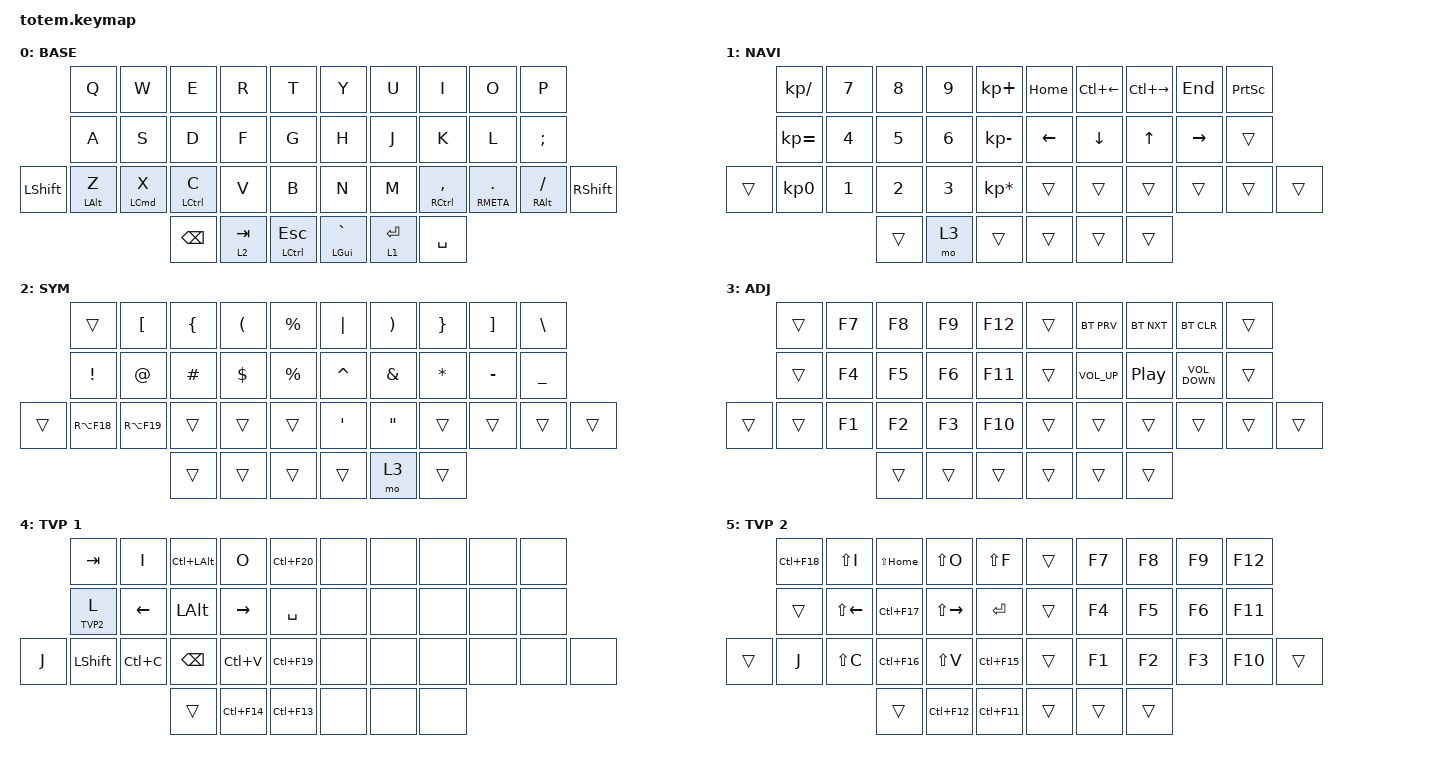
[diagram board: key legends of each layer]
//
//                                                        ▀▀▀▀▀     ▀▀▀▀▀          ▀▀█▀▀
//                                                        ▄▀▀▀▄  ▄  ▄▀▀▀▄  ▄  ▄▀▀▀▄  █  ▄▀▀▀▄
//                                                        █   █  █  █   █  █  █   █  █  █   █
//                                                         ▀▀▀   █   ▀▀▀   █   ▀▀▀   ▀   ▀▀▀
//                                                               █      ▄▄▄█▄▄▄    █   █  
//                                                               ▀      █  █  █     █▄█
//                                                             ▀▀▀▀▀    █  █  █      ▀
//                                                                      ▀  ▀  ▀
//
// ▄▄▄▄▄▄▄▄▄▄▄▄▄▄▄▄▄▄▄▄▄▄▄▄▄▄▄▄▄▄▄▄▄▄▄▄▄▄▄▄▄▄▄▄▄▄▄▄▄▄▄▄▄▄▄▄▄▄▄▄▄▄▄▄▄▄▄▄▄▄▄▄▄▄▄▄▄▄▄▄▄▄▄▄▄▄▄▄▄▄▄▄▄▄▄▄▄▄▄▄▄▄▄▄▄▄▄▄▄▄▄▄▄▄▄▄▄▄▄▄▄▄▄▄▄▄▄▄▄▄▄▄▄▄▄▄▄▄▄▄▄▄▄▄▄▄▄▄▄

#include <behaviors.dtsi>
#include <dt-bindings/zmk/bt.h>
#include <dt-bindings/zmk/keys.h>

#define BASE 0
#define NAV  1
#define SYM  2
#define ADJ  3
#define TVP1 4
#define TVP2 5

&mt {
    quick-tap-ms = <100>;
    global-quick-tap;
    flavor = "tap-preferred";
    tapping-term-ms = <170>;
};

/ {
    combos {
        compatible = "zmk,combos";

        combo_esc {
            timeout-ms = <50>;
            key-positions = <0 1>;
            bindings = <&kp ESC>;
        };

        combo_tvp {
            timeout-ms = <100>;
            key-positions = <11 12 13>;
            bindings = <&tog TVP1>;
        };
    };

    macros {
        gif: gif {
            label = "giphy";
            compatible = "zmk,behavior-macro";
            #binding-cells = <0>;
            bindings =
                <&macro_press>,
                <&kp LSHFT>,
                <&macro_tap>,
                <&kp N2>,
                <&macro_release>,
                <&kp LSHFT>,
                <&macro_tap>,
                <&kp G &kp I &kp F>;
        };
    };

    behaviors {
        hm: homerow_mods {
            compatible = "zmk,behavior-hold-tap";
            label = "HOMEROW_MODS";
            bindings = <&kp>, <&kp>;

            #binding-cells = <2>;
            tapping-term-ms = <200>;
            quick-tap-ms = <120>;
            require-prior-idle-ms = <175>;
            flavor = "balanced";
            hold-trigger-on-release;
        };
    };

    keymap {
        compatible = "zmk,keymap";

        // ▄▄▄▄▄▄▄▄▄▄▄▄▄▄▄▄▄▄▄▄▄▄▄▄▄▄▄▄▄▄▄▄▄▄▄▄▄▄▄▄▄▄▄▄▄▄▄▄▄▄▄▄▄▄▄▄▄▄▄▄▄▄▄▄▄▄▄▄▄▄▄▄▄▄▄▄▄▄▄▄▄▄▄▄▄▄▄▄▄▄▄▄▄▄▄▄▄▄▄▄▄▄▄▄▄▄▄▄▄▄▄▄▄▄▄▄▄▄▄▄▄▄▄▄▄▄▄▄▄▄▄▄▄▄▄▄▄▄▄▄▄▄▄▄▄▄▄▄▄

        base_layer {
            // ┏━━━━━━━━━━━━━━━━━━━━━━━━━━━━━━━━━━━━━━━┓

            label = "BASE";

            // ┗━━━━━━━━━━━━━━━━━━━━━━━━━━━━━━━━━━━━━━━┛
            //             ┏━━━━━━━━━━━┳━━━━━━━━━━━┳━━━━━━━━━━━┳━━━━━━━━━━━┳━━━━━━━━━━━┓   ┏━━━━━━━━━━━┳━━━━━━━━━━━┳━━━━━━━━━━━┳━━━━━━━━━━━┳━━━━━━━━━━━┓
            //             ┃     Q     ┃     W     ┃     F     ┃     P     ┃     G     ┃   ┃     J     ┃     L     ┃     U     ┃     Y     ┃     ;     ┃
            //             ┣━━━━━━━━━━━╋━━━━━━━━━━━╋━━━━━━━━━━━╋━━━━━━━━━━━╋━━━━━━━━━━━┫   ┣━━━━━━━━━━━╋━━━━━━━━━━━╋━━━━━━━━━━━╋━━━━━━━━━━━╋━━━━━━━━━━━┫
            //             ┃     A     ┃     R     ┃     S     ┃     T     ┃     D     ┃   ┃     H     ┃     N     ┃     E     ┃     I     ┃     O     ┃
            // ┏━━━━━━━━━━━╋━━━━━━━━━━━╋━━━━━━━━━━━╋━━━━━━━━━━━╋━━━━━━━━━━━╋━━━━━━━━━━━┫   ┣━━━━━━━━━━━╋━━━━━━━━━━━╋━━━━━━━━━━━╋━━━━━━━━━━━╋━━━━━━━━━━━╋━━━━━━━━━━━┓
            // ┃     Q     ┃     Z     ┃     X     ┃     C     ┃     V     ┃     B     ┃   ┃     K     ┃     M     ┃     ,     ┃     .     ┃     /     ┃     \     ┃
            // ┗━━━━━━━━━━━┻━━━━━━━━━━━┻━━━━━━━━━━━╋━━━━━━━━━━━╋━━━━━━━━━━━╋━━━━━━━━━━━┫   ┣━━━━━━━━━━━╋━━━━━━━━━━━╋━━━━━━━━━━━╋━━━━━━━━━━━┻━━━━━━━━━━━┻━━━━━━━━━━━┛
            //                                     ┃    DEL    ┃    TAB    ┃    SPC    ┃   ┃   ENTER   ┃           ┃   BSPC    ┃
            //                                     ┗━━━━━━━━━━━┻━━━━━━━━━━━┻━━━━━━━━━━━┛   ┗━━━━━━━━━━━┻━━━━━━━━━━━┻━━━━━━━━━━━┛

            bindings = <
           &kp Q           &kp W       &kp E        &kp R      &kp T               &kp Y               &kp U        &kp I            &kp O          &kp P
           &kp A           &kp S       &kp D        &kp F      &kp G               &kp H               &kp J        &kp K            &kp L          &kp SEMI
&kp LSHFT  &hm LEFT_ALT Z  &hm LCMD X  &hm LCTRL C  &kp V      &kp B               &kp N               &kp M        &hm RCTRL COMMA  &hm RMETA DOT  &hm RIGHT_ALT FSLH  &kp RSHFT
                                       &kp BSPC     &lt 2 TAB  &mt LCTRL ESCAPE    &mt LEFT_GUI GRAVE  &lt 1 ENTER  &kp SPACE
            >;
        };

        // ▄▄▄▄▄▄▄▄▄▄▄▄▄▄▄▄▄▄▄▄▄▄▄▄▄▄▄▄▄▄▄▄▄▄▄▄▄▄▄▄▄▄▄▄▄▄▄▄▄▄▄▄▄▄▄▄▄▄▄▄▄▄▄▄▄▄▄▄▄▄▄▄▄▄▄▄▄▄▄▄▄▄▄▄▄▄▄▄▄▄▄▄▄▄▄▄▄▄▄▄▄▄▄▄▄▄▄▄▄▄▄▄▄▄▄▄▄▄▄▄▄▄▄▄▄▄▄▄▄▄▄▄▄▄▄▄▄▄▄▄▄▄▄▄▄▄▄▄▄

        nav_layer {
            // ┏━━━━━━━━━━━━━━━━━━━━━━━━━━━━━━━━━━━━━━━┓

            label = "NAVI";

            // ┗━━━━━━━━━━━━━━━━━━━━━━━━━━━━━━━━━━━━━━━┛
            //             ┏━━━━━━━━━━━┳━━━━━━━━━━━┳━━━━━━━━━━━┳━━━━━━━━━━━┳━━━━━━━━━━━┓   ┏━━━━━━━━━━━┳━━━━━━━━━━━┳━━━━━━━━━━━┳━━━━━━━━━━━┳━━━━━━━━━━━┓
            //             ┃           ┃           ┃     UP    ┃           ┃     {     ┃   ┃     }     ┃     7     ┃     8     ┃     9     ┃     +     ┃
            //             ┣━━━━━━━━━━━╋━━━━━━━━━━━╋━━━━━━━━━━━╋━━━━━━━━━━━╋━━━━━━━━━━━┫   ┣━━━━━━━━━━━╋━━━━━━━━━━━╋━━━━━━━━━━━╋━━━━━━━━━━━╋━━━━━━━━━━━┫
            //             ┃   SHIFT   ┃   LEFT    ┃    DOWN   ┃   RIGHT   ┃     [     ┃   ┃     ]     ┃     4     ┃     5     ┃     6     ┃     -     ┃
            // ┏━━━━━━━━━━━╋━━━━━━━━━━━╋━━━━━━━━━━━╋━━━━━━━━━━━╋━━━━━━━━━━━╋━━━━━━━━━━━┫   ┣━━━━━━━━━━━╋━━━━━━━━━━━╋━━━━━━━━━━━╋━━━━━━━━━━━╋━━━━━━━━━━━╋━━━━━━━━━━━┓
            // ┃           ┃           ┃   P UP    ┃  C LOCK   ┃  P DOWN   ┃     (     ┃   ┃     )     ┃     1     ┃     2     ┃     3     ┃     *     ┃           ┃
            // ┗━━━━━━━━━━━┻━━━━━━━━━━━┻━━━━━━━━━━━╋━━━━━━━━━━━╋━━━━━━━━━━━╋━━━━━━━━━━━┫   ┣━━━━━━━━━━━╋━━━━━━━━━━━╋━━━━━━━━━━━╋━━━━━━━━━━━┻━━━━━━━━━━━┻━━━━━━━━━━━┛
            //                                     ┃           ┃    TAB    ┃    SPC    ┃   ┃    DEL    ┃     0     ┃           ┃
            //                                     ┗━━━━━━━━━━━┻━━━━━━━━━━━┻━━━━━━━━━━━┛   ┗━━━━━━━━━━━┻━━━━━━━━━━━┻━━━━━━━━━━━┛

            bindings = <
        &kp KP_SLASH  &kp N7  &kp N8  &kp N9  &kp KP_PLUS        &kp HOME        &kp LC(LEFT_ARROW)  &kp LC(RIGHT)  &kp END    &kp PRINTSCREEN
        &kp KP_EQUAL  &kp N4  &kp N5  &kp N6  &kp KP_MINUS       &kp LEFT_ARROW  &kp DOWN            &kp UP_ARROW   &kp RIGHT  &trans
&trans  &kp KP_N0     &kp N1  &kp N2  &kp N3  &kp KP_MULTIPLY    &trans          &trans              &trans         &trans     &trans           &trans
                              &trans  &mo 3   &trans             &trans          &trans              &trans
            >;
        };

        // ▄▄▄▄▄▄▄▄▄▄▄▄▄▄▄▄▄▄▄▄▄▄▄▄▄▄▄▄▄▄▄▄▄▄▄▄▄▄▄▄▄▄▄▄▄▄▄▄▄▄▄▄▄▄▄▄▄▄▄▄▄▄▄▄▄▄▄▄▄▄▄▄▄▄▄▄▄▄▄▄▄▄▄▄▄▄▄▄▄▄▄▄▄▄▄▄▄▄▄▄▄▄▄▄▄▄▄▄▄▄▄▄▄▄▄▄▄▄▄▄▄▄▄▄▄▄▄▄▄▄▄▄▄▄▄▄▄▄▄▄▄▄▄▄▄▄▄▄▄

        sim_layer {
            // ┏━━━━━━━━━━━━━━━━━━━━━━━━━━━━━━━━━━━━━━━┓

            label = "SYM";

            // ┗━━━━━━━━━━━━━━━━━━━━━━━━━━━━━━━━━━━━━━━┛
            //             ┏━━━━━━━━━━━┳━━━━━━━━━━━┳━━━━━━━━━━━┳━━━━━━━━━━━┳━━━━━━━━━━━┓   ┏━━━━━━━━━━━┳━━━━━━━━━━━┳━━━━━━━━━━━┳━━━━━━━━━━━┳━━━━━━━━━━━┓
            //             ┃     !     ┃     @     ┃     #     ┃     $     ┃     %     ┃   ┃     ˆ     ┃     &     ┃     Ü     ┃     '     ┃     "     ┃
            //             ┣━━━━━━━━━━━╋━━━━━━━━━━━╋━━━━━━━━━━━╋━━━━━━━━━━━╋━━━━━━━━━━━┫   ┣━━━━━━━━━━━╋━━━━━━━━━━━╋━━━━━━━━━━━╋━━━━━━━━━━━╋━━━━━━━━━━━┫
            //             ┃     Ä     ┃           ┃    SZ     ┃           ┃           ┃   ┃   MUTE    ┃   YEN     ┃   EURO    ┃  POUND    ┃     Ö     ┃
            // ┏━━━━━━━━━━━╋━━━━━━━━━━━╋━━━━━━━━━━━╋━━━━━━━━━━━╋━━━━━━━━━━━╋━━━━━━━━━━━┫   ┣━━━━━━━━━━━╋━━━━━━━━━━━╋━━━━━━━━━━━╋━━━━━━━━━━━╋━━━━━━━━━━━╋━━━━━━━━━━━┓
            // ┃           ┃  EMAIL1   ┃  EMAIL2   ┃           ┃           ┃           ┃   ┃   VOL-    ┃   VOL+    ┃   LAST    ┃   NEXT    ┃     \     ┃           ┃
            // ┗━━━━━━━━━━━┻━━━━━━━━━━━┻━━━━━━━━━━━╋━━━━━━━━━━━╋━━━━━━━━━━━╋━━━━━━━━━━━┫   ┣━━━━━━━━━━━╋━━━━━━━━━━━╋━━━━━━━━━━━╋━━━━━━━━━━━┻━━━━━━━━━━━┻━━━━━━━━━━━┛
            //                                     ┃           ┃    GIF    ┃    ADJ    ┃   ┃           ┃           ┃           ┃
            //                                     ┗━━━━━━━━━━━┻━━━━━━━━━━━┻━━━━━━━━━━━┛   ┗━━━━━━━━━━━┻━━━━━━━━━━━┻━━━━━━━━━━━┛

            bindings = <
        &trans       &kp LEFT_BRACKET  &kp LEFT_BRACE  &kp LEFT_PARENTHESIS  &kp PRCNT      &kp PIPE          &kp RIGHT_PARENTHESIS  &kp RIGHT_BRACE  &kp RIGHT_BRACKET  &kp BACKSLASH
        &kp EXCL     &kp AT            &kp HASH        &kp DOLLAR            &kp PERCENT    &kp CARET         &kp AMPS               &kp STAR         &kp MINUS          &kp UNDER
&trans  &kp RA(F18)  &kp RA(F19)       &trans          &trans                &trans         &kp SINGLE_QUOTE  &kp DOUBLE_QUOTES      &trans           &trans             &trans         &trans
                                       &trans          &trans                &trans         &trans            &mo 3                  &trans
            >;
        };

        // ▄▄▄▄▄▄▄▄▄▄▄▄▄▄▄▄▄▄▄▄▄▄▄▄▄▄▄▄▄▄▄▄▄▄▄▄▄▄▄▄▄▄▄▄▄▄▄▄▄▄▄▄▄▄▄▄▄▄▄▄▄▄▄▄▄▄▄▄▄▄▄▄▄▄▄▄▄▄▄▄▄▄▄▄▄▄▄▄▄▄▄▄▄▄▄▄▄▄▄▄▄▄▄▄▄▄▄▄▄▄▄▄▄▄▄▄▄▄▄▄▄▄▄▄▄▄▄▄▄▄▄▄▄▄▄▄▄▄▄▄▄▄▄▄▄▄▄▄▄

        adjust_layer {
            // ┏━━━━━━━━━━━━━━━━━━━━━━━━━━━━━━━━━━━━━━━┓

            label = "ADJ";

            // ┗━━━━━━━━━━━━━━━━━━━━━━━━━━━━━━━━━━━━━━━┛
            //             ┏━━━━━━━━━━━┳━━━━━━━━━━━┳━━━━━━━━━━━┳━━━━━━━━━━━┳━━━━━━━━━━━┓   ┏━━━━━━━━━━━┳━━━━━━━━━━━┳━━━━━━━━━━━┳━━━━━━━━━━━┳━━━━━━━━━━━┓
            //             ┃   RESET   ┃ BT CLEAR  ┃  OUT TOG  ┃           ┃           ┃   ┃           ┃    F7     ┃    F8     ┃    F9     ┃    F12    ┃
            //             ┣━━━━━━━━━━━╋━━━━━━━━━━━╋━━━━━━━━━━━╋━━━━━━━━━━━╋━━━━━━━━━━━┫   ┣━━━━━━━━━━━╋━━━━━━━━━━━╋━━━━━━━━━━━╋━━━━━━━━━━━╋━━━━━━━━━━━┫
            //             ┃ BOOTLOAD  ┃ BT NEXT   ┃           ┃           ┃           ┃   ┃           ┃    F4     ┃    F5     ┃    F6     ┃    F11    ┃
            // ┏━━━━━━━━━━━╋━━━━━━━━━━━╋━━━━━━━━━━━╋━━━━━━━━━━━╋━━━━━━━━━━━╋━━━━━━━━━━━┫   ┣━━━━━━━━━━━╋━━━━━━━━━━━╋━━━━━━━━━━━╋━━━━━━━━━━━╋━━━━━━━━━━━╋━━━━━━━━━━━┓
            // ┃           ┃           ┃ BT PREV   ┃           ┃           ┃           ┃   ┃           ┃    F1     ┃    F2     ┃    F3     ┃    F10    ┃           ┃
            // ┗━━━━━━━━━━━┻━━━━━━━━━━━┻━━━━━━━━━━━╋━━━━━━━━━━━╋━━━━━━━━━━━╋━━━━━━━━━━━┫   ┣━━━━━━━━━━━╋━━━━━━━━━━━╋━━━━━━━━━━━╋━━━━━━━━━━━┻━━━━━━━━━━━┻━━━━━━━━━━━┛
            //                                     ┃           ┃           ┃           ┃   ┃           ┃           ┃           ┃
            //                                     ┗━━━━━━━━━━━┻━━━━━━━━━━━┻━━━━━━━━━━━┛   ┗━━━━━━━━━━━┻━━━━━━━━━━━┻━━━━━━━━━━━┛

            bindings = <
        &trans  &kp F7  &kp F8  &kp F9  &kp F12    &trans  &bt BT_PRV       &bt BT_NXT        &bt BT_CLR         &trans
        &trans  &kp F4  &kp F5  &kp F6  &kp F11    &trans  &kp C_VOLUME_UP  &kp C_PLAY_PAUSE  &kp C_VOLUME_DOWN  &trans
&trans  &trans  &kp F1  &kp F2  &kp F3  &kp F10    &trans  &trans           &trans            &trans             &trans  &trans
                        &trans  &trans  &trans     &trans  &trans           &trans
            >;
        };

        // ▄▄▄▄▄▄▄▄▄▄▄▄▄▄▄▄▄▄▄▄▄▄▄▄▄▄▄▄▄▄▄▄▄▄▄▄▄▄▄▄▄▄▄▄▄▄▄▄▄▄▄▄▄▄▄▄▄▄▄▄▄▄▄▄▄▄▄▄▄▄▄▄▄▄▄▄▄▄▄▄▄▄▄▄▄▄▄▄▄▄▄▄▄▄▄▄▄▄▄▄▄▄▄▄▄▄▄▄▄▄▄▄▄▄▄▄▄▄▄▄▄▄▄▄▄▄▄▄▄▄▄▄▄▄▄▄▄▄▄▄▄▄▄▄▄▄▄▄▄

        tvp1_layer {
            // ┏━━━━━━━━━━━━━━━━━━━━━━━━━━━━━━━━━━━━━━━┓

            label = "TVP 1";

            // ┗━━━━━━━━━━━━━━━━━━━━━━━━━━━━━━━━━━━━━━━┛
            //             ┏━━━━━━━━━━━┳━━━━━━━━━━━┳━━━━━━━━━━━┳━━━━━━━━━━━┳━━━━━━━━━━━┓   ┏━━━━━━━━━━━┳━━━━━━━━━━━┳━━━━━━━━━━━┳━━━━━━━━━━━┳━━━━━━━━━━━┓
            //             ┃ NEXT FILE ┃ MARK IN   ┃ ROTATE    ┃ MARK OUT  ┃ SHOW SNAP ┃   ┃           ┃           ┃           ┃           ┃           ┃
            //             ┣━━━━━━━━━━━╋━━━━━━━━━━━╋━━━━━━━━━━━╋━━━━━━━━━━━╋━━━━━━━━━━━┫   ┣━━━━━━━━━━━╋━━━━━━━━━━━╋━━━━━━━━━━━╋━━━━━━━━━━━╋━━━━━━━━━━━┫
            //             ┃ TVP II    ┃ LEFT      ┃ PAN       ┃ RIGHT     ┃ PLAY/FLIP ┃   ┃           ┃           ┃           ┃           ┃           ┃
            // ┏━━━━━━━━━━━╋━━━━━━━━━━━╋━━━━━━━━━━━╋━━━━━━━━━━━╋━━━━━━━━━━━╋━━━━━━━━━━━┫   ┣━━━━━━━━━━━╋━━━━━━━━━━━╋━━━━━━━━━━━╋━━━━━━━━━━━╋━━━━━━━━━━━╋━━━━━━━━━━━┓
            // ┃ FULLSCR   ┃ SHIFT     ┃ COPY      ┃ DELETE    ┃ PASTE     ┃ IMG MARK  ┃   ┃           ┃           ┃           ┃           ┃           ┃           ┃
            // ┗━━━━━━━━━━━┻━━━━━━━━━━━┻━━━━━━━━━━━╋━━━━━━━━━━━╋━━━━━━━━━━━╋━━━━━━━━━━━┫   ┣━━━━━━━━━━━╋━━━━━━━━━━━╋━━━━━━━━━━━╋━━━━━━━━━━━┻━━━━━━━━━━━┻━━━━━━━━━━━┛
            //                                     ┃           ┃ UNDO/SAVE ┃  SEL/MOV  ┃   ┃           ┃           ┃           ┃
            //                                     ┗━━━━━━━━━━━┻━━━━━━━━━━━┻━━━━━━━━━━━┛   ┗━━━━━━━━━━━┻━━━━━━━━━━━┻━━━━━━━━━━━┛

            bindings = <
       &kp TAB     &kp I      &kp LC(LALT)  &kp O        &kp LC(F20)    &none  &none  &none  &none  &none
       &lt TVP2 L  &kp LEFT   &kp LALT      &kp RIGHT    &kp SPACE      &none  &none  &none  &none  &none
&kp J  &kp LSHFT   &kp LC(C)  &kp BSPC      &kp LC(V)    &kp LC(F19)    &none  &none  &none  &none  &none  &none
                              &trans        &kp LC(F14)  &kp LC(F13)    &none  &none  &none
            >;
        };

        // ▄▄▄▄▄▄▄▄▄▄▄▄▄▄▄▄▄▄▄▄▄▄▄▄▄▄▄▄▄▄▄▄▄▄▄▄▄▄▄▄▄▄▄▄▄▄▄▄▄▄▄▄▄▄▄▄▄▄▄▄▄▄▄▄▄▄▄▄▄▄▄▄▄▄▄▄▄▄▄▄▄▄▄▄▄▄▄▄▄▄▄▄▄▄▄▄▄▄▄▄▄▄▄▄▄▄▄▄▄▄▄▄▄▄▄▄▄▄▄▄▄▄▄▄▄▄▄▄▄▄▄▄▄▄▄▄▄▄▄▄▄▄▄▄▄▄▄▄▄

        tvp2_layer {
            // ┏━━━━━━━━━━━━━━━━━━━━━━━━━━━━━━━━━━━━━━━┓

            label = "TVP 2";

            // ┗━━━━━━━━━━━━━━━━━━━━━━━━━━━━━━━━━━━━━━━┛
            //             ┏━━━━━━━━━━━┳━━━━━━━━━━━┳━━━━━━━━━━━┳━━━━━━━━━━━┳━━━━━━━━━━━┓   ┏━━━━━━━━━━━┳━━━━━━━━━━━┳━━━━━━━━━━━┳━━━━━━━━━━━┳━━━━━━━━━━━┓
            //             ┃ SOLO      ┃ TOGGLE IN ┃ RESET ROT ┃ TOGGLE OUT┃ TAKE SNAP ┃   ┃           ┃           ┃           ┃           ┃           ┃
            //             ┣━━━━━━━━━━━╋━━━━━━━━━━━╋━━━━━━━━━━━╋━━━━━━━━━━━╋━━━━━━━━━━━┫   ┣━━━━━━━━━━━╋━━━━━━━━━━━╋━━━━━━━━━━━╋━━━━━━━━━━━╋━━━━━━━━━━━┫
            //             ┃ ---       ┃ LAST KEY  ┃ NEW KEY   ┃ NEXT KEY  ┃ ENTER     ┃   ┃           ┃           ┃           ┃           ┃           ┃
            // ┏━━━━━━━━━━━╋━━━━━━━━━━━╋━━━━━━━━━━━╋━━━━━━━━━━━╋━━━━━━━━━━━╋━━━━━━━━━━━┫   ┣━━━━━━━━━━━╋━━━━━━━━━━━╋━━━━━━━━━━━╋━━━━━━━━━━━╋━━━━━━━━━━━╋━━━━━━━━━━━┓
            // ┃           ┃ FULLSCR   ┃ CPY2BRUSH ┃ DEL HEAD  ┃ PSTinPLACE┃ BOOK MARK ┃   ┃           ┃           ┃           ┃           ┃           ┃           ┃
            // ┗━━━━━━━━━━━┻━━━━━━━━━━━┻━━━━━━━━━━━╋━━━━━━━━━━━╋━━━━━━━━━━━╋━━━━━━━━━━━┫   ┣━━━━━━━━━━━╋━━━━━━━━━━━╋━━━━━━━━━━━╋━━━━━━━━━━━┻━━━━━━━━━━━┻━━━━━━━━━━━┛
            //                                     ┃           ┃ REDO/SAV1 ┃TRANS/WARP ┃   ┃           ┃           ┃           ┃
            //                                     ┗━━━━━━━━━━━┻━━━━━━━━━━━┻━━━━━━━━━━━┛   ┗━━━━━━━━━━━┻━━━━━━━━━━━┻━━━━━━━━━━━┛

            bindings = <
        &kp LC(F18)  &kp LS(I)     &kp LS(HOME)  &kp LS(O)      &kp LS(F)      &trans  &kp F7  &kp F8  &kp F9  &kp F12
        &trans       &kp LS(LEFT)  &kp LC(F17)   &kp LS(RIGHT)  &kp RET        &trans  &kp F4  &kp F5  &kp F6  &kp F11
&trans  &kp J        &kp LS(C)     &kp LC(F16)   &kp LS(V)      &kp LC(F15)    &trans  &kp F1  &kp F2  &kp F3  &kp F10  &trans
                                   &trans        &kp LC(F12)    &kp LC(F11)    &trans  &trans  &trans
            >;
        };
    };
};
